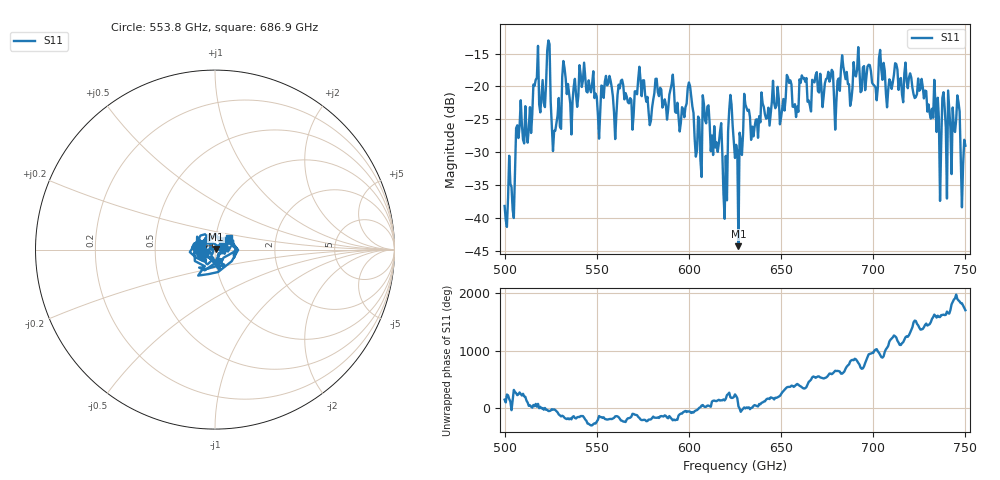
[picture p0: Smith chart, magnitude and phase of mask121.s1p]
!Created with skrf (http://scikit-rf.org).
# GHz S MA R 50.0
!freq magS11 angS11
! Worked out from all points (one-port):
!   401 points, 500 GHz to 750 GHz, reference 50 ohm
!   lowest |S11| = -44.3 dB at 626.9 GHz (marker M1), VSWR 1.01, Z = 50.5 + j0.286 ohm
!   |S11| at or under -10 dB: start of sweep to end of sweep
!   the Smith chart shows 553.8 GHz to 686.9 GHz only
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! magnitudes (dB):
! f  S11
! 500 GHz  -38.2
! 504.4 GHz  -38.8
! 507.5 GHz  -27.9
! 513.1 GHz  -26.3
! 516.9 GHz  -19.0
! 520.6 GHz  -19.0
! 523.8 GHz  -13.0
! 526.9 GHz  -26.8
! 531.2 GHz  -18.6
! 562.5 GHz  -20.3
! 593.8 GHz  -22.5
! 600.6 GHz  -20.0
! 605.6 GHz  -25.1
! 608.8 GHz  -25.2
! 616.9 GHz  -26.9
! 619.4 GHz  -40.2
! 622.5 GHz  -21.3
! 625 GHz  -30.9
! 626.9 GHz  -44.3
! 631.2 GHz  -23.3
! 635 GHz  -27.6
! 656.2 GHz  -23.1
! 687.5 GHz  -23.0
! 718.8 GHz  -20.3
! 734.4 GHz  -26.9
! 735.6 GHz  -24.9
! 745.6 GHz  -21.4
! 750 GHz  -29.0
